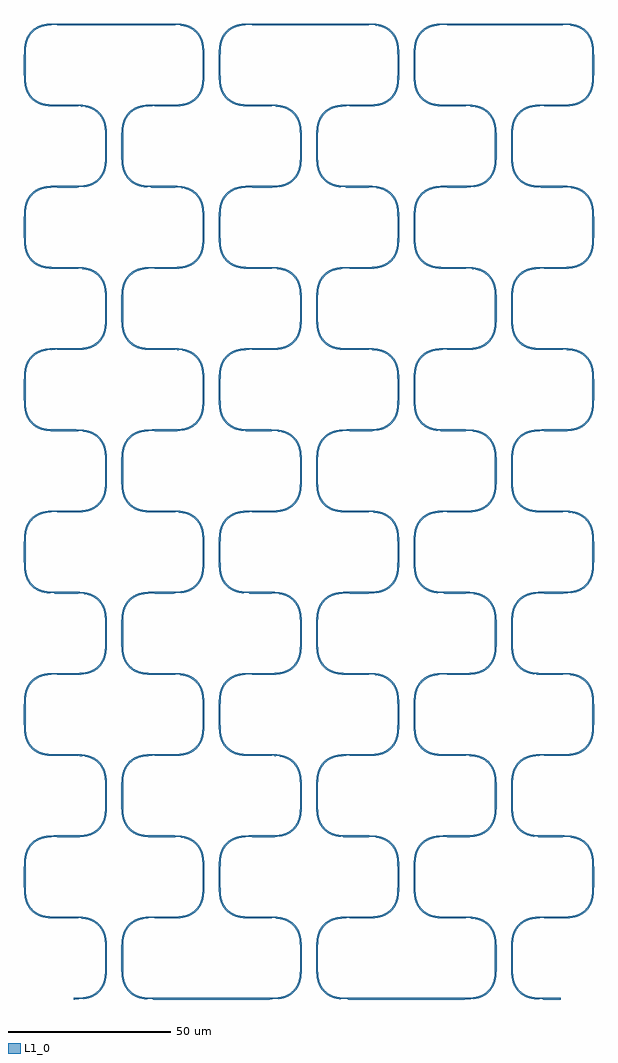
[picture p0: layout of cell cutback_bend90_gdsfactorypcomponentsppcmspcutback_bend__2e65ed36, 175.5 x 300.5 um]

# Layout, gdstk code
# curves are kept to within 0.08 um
from math import pi, radians
import gdstk
lib = gdstk.Library(unit=1e-6, precision=1e-09)
def R(c, l, rs):  # rectangles x0, y0, x1, y1
    for r in rs: c.add(gdstk.rectangle(r[:2], r[2:], *l))
def P(c, l, *ps):  # polygons
    for p in ps: c.add(gdstk.Polygon(p, *l))
L1_0 = (1, 0)

bend_euler_gdsfactorypco = lib.new_cell('bend_euler_gdsfactorypcomponentspbendspbend_euler_RNone_387600b2')
P(bend_euler_gdsfactorypco, L1_0, [(0,-0.25),(0,0.25),(2.881,0.353),(3.952,0.52),(4.99,0.806),(6.431,1.505),(7.575,2.425),(8.495,3.569),(9.194,5.01),(9.48,6.048),(9.647,7.119),(9.75,10),(10.25,10),(10.158,7.205),(9.797,5.254),(9.457,4.312),(9.066,3.545),(8.5,2.715),(7.928,2.072),(7.285,1.5),(6.455,0.934),(5.688,0.543),(4.746,0.203),(2.795,-0.158)])

straight_gdsfactorypcomp = lib.new_cell('straight_gdsfactorypcomponentspwaveguidespstraight_L5_N_32b584f5')
R(straight_gdsfactorypcomp, L1_0, [(0,-0.25,5,0.25)])

c_straight_gdsfactorypcomp = lib.new_cell('straight_gdsfactorypcomponentspwaveguidespstraight_L30__a17b4e39')
R(c_straight_gdsfactorypcomp, L1_0, [(0,-0.25,30,0.25)])

cutback_bend90_gdsfactor = lib.new_cell('cutback_bend90_gdsfactorypcomponentsppcmspcutback_bend__2e65ed36')
cutback_bend90_gdsfactor.add(gdstk.Reference(bend_euler_gdsfactorypco, (-5,150), rotation=pi))
cutback_bend90_gdsfactor.add(gdstk.Reference(straight_gdsfactorypcomp, (-5,150)))
cutback_bend90_gdsfactor.add(gdstk.Reference(bend_euler_gdsfactorypco, (0,150)))
cutback_bend90_gdsfactor.add(gdstk.Reference(bend_euler_gdsfactorypco, (15,160), rotation=3*pi/2))
cutback_bend90_gdsfactor.add(gdstk.Reference(straight_gdsfactorypcomp, (25,150)))
cutback_bend90_gdsfactor.add(gdstk.Reference(bend_euler_gdsfactorypco, (40,140), rotation=pi/2))
cutback_bend90_gdsfactor.add(gdstk.Reference(bend_euler_gdsfactorypco, (55,150), rotation=pi))
cutback_bend90_gdsfactor.add(gdstk.Reference(straight_gdsfactorypcomp, (55,150)))
cutback_bend90_gdsfactor.add(gdstk.Reference(bend_euler_gdsfactorypco, (60,150)))
cutback_bend90_gdsfactor.add(gdstk.Reference(c_straight_gdsfactorypcomp, (60,300)))
cutback_bend90_gdsfactor.add(gdstk.Reference(bend_euler_gdsfactorypco, (75,160), rotation=3*pi/2))
cutback_bend90_gdsfactor.add(gdstk.Reference(straight_gdsfactorypcomp, (85,150)))
cutback_bend90_gdsfactor.add(gdstk.Reference(bend_euler_gdsfactorypco, (100,140), rotation=pi/2))
cutback_bend90_gdsfactor.add(gdstk.Reference(bend_euler_gdsfactorypco, (115,150), rotation=pi))
cutback_bend90_gdsfactor.add(gdstk.Reference(straight_gdsfactorypcomp, (115,150)))
cutback_bend90_gdsfactor.add(gdstk.Reference(bend_euler_gdsfactorypco, (120,150)))
cutback_bend90_gdsfactor.add(gdstk.Reference(bend_euler_gdsfactorypco, (135,160), rotation=3*pi/2))
cutback_bend90_gdsfactor.add(gdstk.Reference(straight_gdsfactorypcomp, (145,150)))
cutback_bend90_gdsfactor.add(gdstk.Reference(bend_euler_gdsfactorypco, (160,140), rotation=pi/2))
cutback_bend90_gdsfactor.add(gdstk.Reference(straight_gdsfactorypcomp, (100,240), rotation=3*pi/2))
cutback_bend90_gdsfactor.add(gdstk.Reference(bend_euler_gdsfactorypco, (90,225)))
cutback_bend90_gdsfactor.add(gdstk.Reference(straight_gdsfactorypcomp, (90,225), rotation=pi))
cutback_bend90_gdsfactor.add(gdstk.Reference(bend_euler_gdsfactorypco, (85,225), rotation=pi))
cutback_bend90_gdsfactor.add(gdstk.Reference(straight_gdsfactorypcomp, (75,215), rotation=3*pi/2))
cutback_bend90_gdsfactor.add(gdstk.Reference(bend_euler_gdsfactorypco, (75,210), rotation=3*pi/2))
cutback_bend90_gdsfactor.add(gdstk.Reference(straight_gdsfactorypcomp, (85,200)))
cutback_bend90_gdsfactor.add(gdstk.Reference(bend_euler_gdsfactorypco, (100,190), rotation=pi/2))
cutback_bend90_gdsfactor.add(gdstk.Reference(straight_gdsfactorypcomp, (100,190), rotation=3*pi/2))
cutback_bend90_gdsfactor.add(gdstk.Reference(bend_euler_gdsfactorypco, (90,175)))
cutback_bend90_gdsfactor.add(gdstk.Reference(straight_gdsfactorypcomp, (90,175), rotation=pi))
cutback_bend90_gdsfactor.add(gdstk.Reference(bend_euler_gdsfactorypco, (85,175), rotation=pi))
cutback_bend90_gdsfactor.add(gdstk.Reference(straight_gdsfactorypcomp, (75,165), rotation=3*pi/2))
cutback_bend90_gdsfactor.add(gdstk.Reference(bend_euler_gdsfactorypco, (100,290), rotation=pi/2))
cutback_bend90_gdsfactor.add(gdstk.Reference(straight_gdsfactorypcomp, (100,290), rotation=3*pi/2))
cutback_bend90_gdsfactor.add(gdstk.Reference(bend_euler_gdsfactorypco, (90,275)))
cutback_bend90_gdsfactor.add(gdstk.Reference(straight_gdsfactorypcomp, (90,275), rotation=pi))
cutback_bend90_gdsfactor.add(gdstk.Reference(bend_euler_gdsfactorypco, (85,275), rotation=pi))
cutback_bend90_gdsfactor.add(gdstk.Reference(straight_gdsfactorypcomp, (75,265), rotation=3*pi/2))
cutback_bend90_gdsfactor.add(gdstk.Reference(straight_gdsfactorypcomp, (130,160), rotation=pi/2))
cutback_bend90_gdsfactor.add(gdstk.Reference(bend_euler_gdsfactorypco, (130,165), rotation=pi/2))
cutback_bend90_gdsfactor.add(gdstk.Reference(straight_gdsfactorypcomp, (120,175), rotation=pi))
cutback_bend90_gdsfactor.add(gdstk.Reference(bend_euler_gdsfactorypco, (105,185), rotation=3*pi/2))
cutback_bend90_gdsfactor.add(gdstk.Reference(straight_gdsfactorypcomp, (105,185), rotation=pi/2))
cutback_bend90_gdsfactor.add(gdstk.Reference(bend_euler_gdsfactorypco, (115,200), rotation=pi))
cutback_bend90_gdsfactor.add(gdstk.Reference(straight_gdsfactorypcomp, (115,200)))
cutback_bend90_gdsfactor.add(gdstk.Reference(bend_euler_gdsfactorypco, (120,200)))
cutback_bend90_gdsfactor.add(gdstk.Reference(straight_gdsfactorypcomp, (130,210), rotation=pi/2))
cutback_bend90_gdsfactor.add(gdstk.Reference(bend_euler_gdsfactorypco, (130,215), rotation=pi/2))
cutback_bend90_gdsfactor.add(gdstk.Reference(straight_gdsfactorypcomp, (120,225), rotation=pi))
cutback_bend90_gdsfactor.add(gdstk.Reference(bend_euler_gdsfactorypco, (105,235), rotation=3*pi/2))
cutback_bend90_gdsfactor.add(gdstk.Reference(straight_gdsfactorypcomp, (105,235), rotation=pi/2))
cutback_bend90_gdsfactor.add(gdstk.Reference(bend_euler_gdsfactorypco, (115,250), rotation=pi))
cutback_bend90_gdsfactor.add(gdstk.Reference(straight_gdsfactorypcomp, (115,250)))
cutback_bend90_gdsfactor.add(gdstk.Reference(bend_euler_gdsfactorypco, (120,250)))
cutback_bend90_gdsfactor.add(gdstk.Reference(straight_gdsfactorypcomp, (130,260), rotation=pi/2))
cutback_bend90_gdsfactor.add(gdstk.Reference(bend_euler_gdsfactorypco, (130,265), rotation=pi/2))
cutback_bend90_gdsfactor.add(gdstk.Reference(straight_gdsfactorypcomp, (120,275), rotation=pi))
cutback_bend90_gdsfactor.add(gdstk.Reference(bend_euler_gdsfactorypco, (105,285), rotation=3*pi/2))
cutback_bend90_gdsfactor.add(gdstk.Reference(straight_gdsfactorypcomp, (105,285), rotation=pi/2))
cutback_bend90_gdsfactor.add(gdstk.Reference(bend_euler_gdsfactorypco, (115,300), rotation=pi))
cutback_bend90_gdsfactor.add(gdstk.Reference(straight_gdsfactorypcomp, (115,300)))
cutback_bend90_gdsfactor.add(gdstk.Reference(c_straight_gdsfactorypcomp, (120,300)))
cutback_bend90_gdsfactor.add(gdstk.Reference(bend_euler_gdsfactorypco, (160,290), rotation=pi/2))
cutback_bend90_gdsfactor.add(gdstk.Reference(straight_gdsfactorypcomp, (160,290), rotation=3*pi/2))
cutback_bend90_gdsfactor.add(gdstk.Reference(bend_euler_gdsfactorypco, (150,275)))
cutback_bend90_gdsfactor.add(gdstk.Reference(straight_gdsfactorypcomp, (150,275), rotation=pi))
cutback_bend90_gdsfactor.add(gdstk.Reference(bend_euler_gdsfactorypco, (145,275), rotation=pi))
cutback_bend90_gdsfactor.add(gdstk.Reference(straight_gdsfactorypcomp, (135,265), rotation=3*pi/2))
cutback_bend90_gdsfactor.add(gdstk.Reference(bend_euler_gdsfactorypco, (135,260), rotation=3*pi/2))
cutback_bend90_gdsfactor.add(gdstk.Reference(straight_gdsfactorypcomp, (145,250)))
cutback_bend90_gdsfactor.add(gdstk.Reference(bend_euler_gdsfactorypco, (160,240), rotation=pi/2))
cutback_bend90_gdsfactor.add(gdstk.Reference(straight_gdsfactorypcomp, (160,240), rotation=3*pi/2))
cutback_bend90_gdsfactor.add(gdstk.Reference(bend_euler_gdsfactorypco, (150,225)))
cutback_bend90_gdsfactor.add(gdstk.Reference(straight_gdsfactorypcomp, (150,225), rotation=pi))
cutback_bend90_gdsfactor.add(gdstk.Reference(bend_euler_gdsfactorypco, (145,225), rotation=pi))
cutback_bend90_gdsfactor.add(gdstk.Reference(straight_gdsfactorypcomp, (135,215), rotation=3*pi/2))
cutback_bend90_gdsfactor.add(gdstk.Reference(bend_euler_gdsfactorypco, (135,210), rotation=3*pi/2))
cutback_bend90_gdsfactor.add(gdstk.Reference(straight_gdsfactorypcomp, (145,200)))
cutback_bend90_gdsfactor.add(gdstk.Reference(bend_euler_gdsfactorypco, (160,190), rotation=pi/2))
cutback_bend90_gdsfactor.add(gdstk.Reference(straight_gdsfactorypcomp, (160,190), rotation=3*pi/2))
cutback_bend90_gdsfactor.add(gdstk.Reference(bend_euler_gdsfactorypco, (150,175)))
cutback_bend90_gdsfactor.add(gdstk.Reference(straight_gdsfactorypcomp, (150,175), rotation=pi))
cutback_bend90_gdsfactor.add(gdstk.Reference(bend_euler_gdsfactorypco, (145,175), rotation=pi))
cutback_bend90_gdsfactor.add(gdstk.Reference(straight_gdsfactorypcomp, (135,165), rotation=3*pi/2))
cutback_bend90_gdsfactor.add(gdstk.Reference(bend_euler_gdsfactorypco, (75,260), rotation=3*pi/2))
cutback_bend90_gdsfactor.add(gdstk.Reference(straight_gdsfactorypcomp, (85,250)))
cutback_bend90_gdsfactor.add(gdstk.Reference(bend_euler_gdsfactorypco, (100,240), rotation=pi/2))
cutback_bend90_gdsfactor.add(gdstk.Reference(bend_euler_gdsfactorypco, (0,250)))
cutback_bend90_gdsfactor.add(gdstk.Reference(straight_gdsfactorypcomp, (10,260), rotation=pi/2))
cutback_bend90_gdsfactor.add(gdstk.Reference(bend_euler_gdsfactorypco, (10,265), rotation=pi/2))
cutback_bend90_gdsfactor.add(gdstk.Reference(straight_gdsfactorypcomp, (0,275), rotation=pi))
cutback_bend90_gdsfactor.add(gdstk.Reference(bend_euler_gdsfactorypco, (-15,285), rotation=3*pi/2))
cutback_bend90_gdsfactor.add(gdstk.Reference(straight_gdsfactorypcomp, (-15,285), rotation=pi/2))
cutback_bend90_gdsfactor.add(gdstk.Reference(bend_euler_gdsfactorypco, (-5,300), rotation=pi))
cutback_bend90_gdsfactor.add(gdstk.Reference(straight_gdsfactorypcomp, (-5,300)))
cutback_bend90_gdsfactor.add(gdstk.Reference(c_straight_gdsfactorypcomp, (0,300)))
cutback_bend90_gdsfactor.add(gdstk.Reference(bend_euler_gdsfactorypco, (40,290), rotation=pi/2))
cutback_bend90_gdsfactor.add(gdstk.Reference(straight_gdsfactorypcomp, (40,290), rotation=3*pi/2))
cutback_bend90_gdsfactor.add(gdstk.Reference(bend_euler_gdsfactorypco, (30,275)))
cutback_bend90_gdsfactor.add(gdstk.Reference(straight_gdsfactorypcomp, (30,275), rotation=pi))
cutback_bend90_gdsfactor.add(gdstk.Reference(bend_euler_gdsfactorypco, (25,275), rotation=pi))
cutback_bend90_gdsfactor.add(gdstk.Reference(straight_gdsfactorypcomp, (15,265), rotation=3*pi/2))
cutback_bend90_gdsfactor.add(gdstk.Reference(bend_euler_gdsfactorypco, (15,260), rotation=3*pi/2))
cutback_bend90_gdsfactor.add(gdstk.Reference(straight_gdsfactorypcomp, (25,250)))
cutback_bend90_gdsfactor.add(gdstk.Reference(bend_euler_gdsfactorypco, (40,240), rotation=pi/2))
cutback_bend90_gdsfactor.add(gdstk.Reference(straight_gdsfactorypcomp, (40,240), rotation=3*pi/2))
cutback_bend90_gdsfactor.add(gdstk.Reference(bend_euler_gdsfactorypco, (30,225)))
cutback_bend90_gdsfactor.add(gdstk.Reference(straight_gdsfactorypcomp, (30,225), rotation=pi))
cutback_bend90_gdsfactor.add(gdstk.Reference(bend_euler_gdsfactorypco, (25,225), rotation=pi))
cutback_bend90_gdsfactor.add(gdstk.Reference(straight_gdsfactorypcomp, (15,215), rotation=3*pi/2))
cutback_bend90_gdsfactor.add(gdstk.Reference(bend_euler_gdsfactorypco, (15,210), rotation=3*pi/2))
cutback_bend90_gdsfactor.add(gdstk.Reference(straight_gdsfactorypcomp, (25,200)))
cutback_bend90_gdsfactor.add(gdstk.Reference(bend_euler_gdsfactorypco, (40,190), rotation=pi/2))
cutback_bend90_gdsfactor.add(gdstk.Reference(straight_gdsfactorypcomp, (40,190), rotation=3*pi/2))
cutback_bend90_gdsfactor.add(gdstk.Reference(bend_euler_gdsfactorypco, (30,175)))
cutback_bend90_gdsfactor.add(gdstk.Reference(straight_gdsfactorypcomp, (30,175), rotation=pi))
cutback_bend90_gdsfactor.add(gdstk.Reference(bend_euler_gdsfactorypco, (25,175), rotation=pi))
cutback_bend90_gdsfactor.add(gdstk.Reference(straight_gdsfactorypcomp, (15,165), rotation=3*pi/2))
cutback_bend90_gdsfactor.add(gdstk.Reference(straight_gdsfactorypcomp, (10,160), rotation=pi/2))
cutback_bend90_gdsfactor.add(gdstk.Reference(bend_euler_gdsfactorypco, (10,165), rotation=pi/2))
cutback_bend90_gdsfactor.add(gdstk.Reference(straight_gdsfactorypcomp, (0,175), rotation=pi))
cutback_bend90_gdsfactor.add(gdstk.Reference(bend_euler_gdsfactorypco, (-15,185), rotation=3*pi/2))
cutback_bend90_gdsfactor.add(gdstk.Reference(straight_gdsfactorypcomp, (-15,185), rotation=pi/2))
cutback_bend90_gdsfactor.add(gdstk.Reference(bend_euler_gdsfactorypco, (-5,200), rotation=pi))
cutback_bend90_gdsfactor.add(gdstk.Reference(straight_gdsfactorypcomp, (70,160), rotation=pi/2))
cutback_bend90_gdsfactor.add(gdstk.Reference(bend_euler_gdsfactorypco, (70,165), rotation=pi/2))
cutback_bend90_gdsfactor.add(gdstk.Reference(straight_gdsfactorypcomp, (60,175), rotation=pi))
cutback_bend90_gdsfactor.add(gdstk.Reference(bend_euler_gdsfactorypco, (45,185), rotation=3*pi/2))
cutback_bend90_gdsfactor.add(gdstk.Reference(straight_gdsfactorypcomp, (45,185), rotation=pi/2))
cutback_bend90_gdsfactor.add(gdstk.Reference(bend_euler_gdsfactorypco, (55,200), rotation=pi))
cutback_bend90_gdsfactor.add(gdstk.Reference(straight_gdsfactorypcomp, (55,200)))
cutback_bend90_gdsfactor.add(gdstk.Reference(bend_euler_gdsfactorypco, (60,200)))
cutback_bend90_gdsfactor.add(gdstk.Reference(straight_gdsfactorypcomp, (70,210), rotation=pi/2))
cutback_bend90_gdsfactor.add(gdstk.Reference(bend_euler_gdsfactorypco, (70,215), rotation=pi/2))
cutback_bend90_gdsfactor.add(gdstk.Reference(straight_gdsfactorypcomp, (60,225), rotation=pi))
cutback_bend90_gdsfactor.add(gdstk.Reference(bend_euler_gdsfactorypco, (45,235), rotation=3*pi/2))
cutback_bend90_gdsfactor.add(gdstk.Reference(straight_gdsfactorypcomp, (45,235), rotation=pi/2))
cutback_bend90_gdsfactor.add(gdstk.Reference(bend_euler_gdsfactorypco, (55,250), rotation=pi))
cutback_bend90_gdsfactor.add(gdstk.Reference(straight_gdsfactorypcomp, (55,250)))
cutback_bend90_gdsfactor.add(gdstk.Reference(bend_euler_gdsfactorypco, (60,250)))
cutback_bend90_gdsfactor.add(gdstk.Reference(straight_gdsfactorypcomp, (70,260), rotation=pi/2))
cutback_bend90_gdsfactor.add(gdstk.Reference(bend_euler_gdsfactorypco, (70,265), rotation=pi/2))
cutback_bend90_gdsfactor.add(gdstk.Reference(straight_gdsfactorypcomp, (60,275), rotation=pi))
cutback_bend90_gdsfactor.add(gdstk.Reference(bend_euler_gdsfactorypco, (45,285), rotation=3*pi/2))
cutback_bend90_gdsfactor.add(gdstk.Reference(straight_gdsfactorypcomp, (45,285), rotation=pi/2))
cutback_bend90_gdsfactor.add(gdstk.Reference(bend_euler_gdsfactorypco, (55,300), rotation=pi))
cutback_bend90_gdsfactor.add(gdstk.Reference(straight_gdsfactorypcomp, (55,300)))
cutback_bend90_gdsfactor.add(gdstk.Reference(straight_gdsfactorypcomp, (-5,200)))
cutback_bend90_gdsfactor.add(gdstk.Reference(bend_euler_gdsfactorypco, (0,200)))
cutback_bend90_gdsfactor.add(gdstk.Reference(straight_gdsfactorypcomp, (10,210), rotation=pi/2))
cutback_bend90_gdsfactor.add(gdstk.Reference(bend_euler_gdsfactorypco, (10,215), rotation=pi/2))
cutback_bend90_gdsfactor.add(gdstk.Reference(straight_gdsfactorypcomp, (0,225), rotation=pi))
cutback_bend90_gdsfactor.add(gdstk.Reference(bend_euler_gdsfactorypco, (-15,235), rotation=3*pi/2))
cutback_bend90_gdsfactor.add(gdstk.Reference(straight_gdsfactorypcomp, (-15,235), rotation=pi/2))
cutback_bend90_gdsfactor.add(gdstk.Reference(bend_euler_gdsfactorypco, (-5,250), rotation=pi))
cutback_bend90_gdsfactor.add(gdstk.Reference(straight_gdsfactorypcomp, (-5,250)))
cutback_bend90_gdsfactor.add(gdstk.Reference(straight_gdsfactorypcomp, (25,50)))
cutback_bend90_gdsfactor.add(gdstk.Reference(bend_euler_gdsfactorypco, (40,40), rotation=pi/2))
cutback_bend90_gdsfactor.add(gdstk.Reference(straight_gdsfactorypcomp, (40,40), rotation=3*pi/2))
cutback_bend90_gdsfactor.add(gdstk.Reference(bend_euler_gdsfactorypco, (30,25)))
cutback_bend90_gdsfactor.add(gdstk.Reference(straight_gdsfactorypcomp, (30,25), rotation=pi))
cutback_bend90_gdsfactor.add(gdstk.Reference(bend_euler_gdsfactorypco, (25,25), rotation=pi))
cutback_bend90_gdsfactor.add(gdstk.Reference(straight_gdsfactorypcomp, (15,15), rotation=3*pi/2))
cutback_bend90_gdsfactor.add(gdstk.Reference(bend_euler_gdsfactorypco, (15,10), rotation=3*pi/2))
cutback_bend90_gdsfactor.add(gdstk.Reference(straight_gdsfactorypcomp, (25,0)))
cutback_bend90_gdsfactor.add(gdstk.Reference(c_straight_gdsfactorypcomp, (30,0)))
cutback_bend90_gdsfactor.add(gdstk.Reference(bend_euler_gdsfactorypco, (60,0)))
cutback_bend90_gdsfactor.add(gdstk.Reference(straight_gdsfactorypcomp, (70,10), rotation=pi/2))
cutback_bend90_gdsfactor.add(gdstk.Reference(bend_euler_gdsfactorypco, (70,15), rotation=pi/2))
cutback_bend90_gdsfactor.add(gdstk.Reference(straight_gdsfactorypcomp, (60,25), rotation=pi))
cutback_bend90_gdsfactor.add(gdstk.Reference(bend_euler_gdsfactorypco, (45,35), rotation=3*pi/2))
cutback_bend90_gdsfactor.add(gdstk.Reference(straight_gdsfactorypcomp, (45,35), rotation=pi/2))
cutback_bend90_gdsfactor.add(gdstk.Reference(bend_euler_gdsfactorypco, (55,50), rotation=pi))
cutback_bend90_gdsfactor.add(gdstk.Reference(straight_gdsfactorypcomp, (55,50)))
cutback_bend90_gdsfactor.add(gdstk.Reference(bend_euler_gdsfactorypco, (60,50)))
cutback_bend90_gdsfactor.add(gdstk.Reference(straight_gdsfactorypcomp, (70,60), rotation=pi/2))
cutback_bend90_gdsfactor.add(gdstk.Reference(bend_euler_gdsfactorypco, (70,65), rotation=pi/2))
cutback_bend90_gdsfactor.add(gdstk.Reference(straight_gdsfactorypcomp, (60,75), rotation=pi))
cutback_bend90_gdsfactor.add(gdstk.Reference(bend_euler_gdsfactorypco, (45,85), rotation=3*pi/2))
cutback_bend90_gdsfactor.add(gdstk.Reference(straight_gdsfactorypcomp, (45,85), rotation=pi/2))
cutback_bend90_gdsfactor.add(gdstk.Reference(bend_euler_gdsfactorypco, (55,100), rotation=pi))
cutback_bend90_gdsfactor.add(gdstk.Reference(straight_gdsfactorypcomp, (55,100)))
cutback_bend90_gdsfactor.add(gdstk.Reference(bend_euler_gdsfactorypco, (60,100)))
cutback_bend90_gdsfactor.add(gdstk.Reference(straight_gdsfactorypcomp, (70,110), rotation=pi/2))
cutback_bend90_gdsfactor.add(gdstk.Reference(bend_euler_gdsfactorypco, (70,115), rotation=pi/2))
cutback_bend90_gdsfactor.add(gdstk.Reference(straight_gdsfactorypcomp, (60,125), rotation=pi))
cutback_bend90_gdsfactor.add(gdstk.Reference(bend_euler_gdsfactorypco, (45,135), rotation=3*pi/2))
cutback_bend90_gdsfactor.add(gdstk.Reference(straight_gdsfactorypcomp, (45,135), rotation=pi/2))
cutback_bend90_gdsfactor.add(gdstk.Reference(bend_euler_gdsfactorypco, (0,50)))
cutback_bend90_gdsfactor.add(gdstk.Reference(straight_gdsfactorypcomp, (10,60), rotation=pi/2))
cutback_bend90_gdsfactor.add(gdstk.Reference(bend_euler_gdsfactorypco, (10,65), rotation=pi/2))
cutback_bend90_gdsfactor.add(gdstk.Reference(straight_gdsfactorypcomp, (0,75), rotation=pi))
cutback_bend90_gdsfactor.add(gdstk.Reference(bend_euler_gdsfactorypco, (-15,85), rotation=3*pi/2))
cutback_bend90_gdsfactor.add(gdstk.Reference(straight_gdsfactorypcomp, (-15,85), rotation=pi/2))
cutback_bend90_gdsfactor.add(gdstk.Reference(bend_euler_gdsfactorypco, (-5,100), rotation=pi))
cutback_bend90_gdsfactor.add(gdstk.Reference(straight_gdsfactorypcomp, (-5,100)))
cutback_bend90_gdsfactor.add(gdstk.Reference(bend_euler_gdsfactorypco, (0,100)))
cutback_bend90_gdsfactor.add(gdstk.Reference(straight_gdsfactorypcomp, (10,110), rotation=pi/2))
cutback_bend90_gdsfactor.add(gdstk.Reference(bend_euler_gdsfactorypco, (10,115), rotation=pi/2))
cutback_bend90_gdsfactor.add(gdstk.Reference(straight_gdsfactorypcomp, (0,125), rotation=pi))
cutback_bend90_gdsfactor.add(gdstk.Reference(bend_euler_gdsfactorypco, (-15,135), rotation=3*pi/2))
cutback_bend90_gdsfactor.add(gdstk.Reference(straight_gdsfactorypcomp, (-15,135), rotation=pi/2))
cutback_bend90_gdsfactor.add(gdstk.Reference(bend_euler_gdsfactorypco, (0,0)))
cutback_bend90_gdsfactor.add(gdstk.Reference(straight_gdsfactorypcomp, (10,10), rotation=pi/2))
cutback_bend90_gdsfactor.add(gdstk.Reference(bend_euler_gdsfactorypco, (10,15), rotation=pi/2))
cutback_bend90_gdsfactor.add(gdstk.Reference(straight_gdsfactorypcomp, (0,25), rotation=pi))
cutback_bend90_gdsfactor.add(gdstk.Reference(bend_euler_gdsfactorypco, (-15,35), rotation=3*pi/2))
cutback_bend90_gdsfactor.add(gdstk.Reference(straight_gdsfactorypcomp, (-15,35), rotation=pi/2))
cutback_bend90_gdsfactor.add(gdstk.Reference(bend_euler_gdsfactorypco, (-5,50), rotation=pi))
cutback_bend90_gdsfactor.add(gdstk.Reference(straight_gdsfactorypcomp, (-5,50)))
cutback_bend90_gdsfactor.add(gdstk.Reference(straight_gdsfactorypcomp, (40,140), rotation=3*pi/2))
cutback_bend90_gdsfactor.add(gdstk.Reference(bend_euler_gdsfactorypco, (30,125)))
cutback_bend90_gdsfactor.add(gdstk.Reference(straight_gdsfactorypcomp, (30,125), rotation=pi))
cutback_bend90_gdsfactor.add(gdstk.Reference(bend_euler_gdsfactorypco, (25,125), rotation=pi))
cutback_bend90_gdsfactor.add(gdstk.Reference(straight_gdsfactorypcomp, (15,115), rotation=3*pi/2))
cutback_bend90_gdsfactor.add(gdstk.Reference(bend_euler_gdsfactorypco, (15,110), rotation=3*pi/2))
cutback_bend90_gdsfactor.add(gdstk.Reference(straight_gdsfactorypcomp, (25,100)))
cutback_bend90_gdsfactor.add(gdstk.Reference(bend_euler_gdsfactorypco, (40,90), rotation=pi/2))
cutback_bend90_gdsfactor.add(gdstk.Reference(straight_gdsfactorypcomp, (40,90), rotation=3*pi/2))
cutback_bend90_gdsfactor.add(gdstk.Reference(bend_euler_gdsfactorypco, (30,75)))
cutback_bend90_gdsfactor.add(gdstk.Reference(straight_gdsfactorypcomp, (30,75), rotation=pi))
cutback_bend90_gdsfactor.add(gdstk.Reference(bend_euler_gdsfactorypco, (25,75), rotation=pi))
cutback_bend90_gdsfactor.add(gdstk.Reference(straight_gdsfactorypcomp, (15,65), rotation=3*pi/2))
cutback_bend90_gdsfactor.add(gdstk.Reference(bend_euler_gdsfactorypco, (15,60), rotation=3*pi/2))
cutback_bend90_gdsfactor.add(gdstk.Reference(straight_gdsfactorypcomp, (85,100)))
cutback_bend90_gdsfactor.add(gdstk.Reference(bend_euler_gdsfactorypco, (100,90), rotation=pi/2))
cutback_bend90_gdsfactor.add(gdstk.Reference(straight_gdsfactorypcomp, (100,90), rotation=3*pi/2))
cutback_bend90_gdsfactor.add(gdstk.Reference(bend_euler_gdsfactorypco, (90,75)))
cutback_bend90_gdsfactor.add(gdstk.Reference(straight_gdsfactorypcomp, (90,75), rotation=pi))
cutback_bend90_gdsfactor.add(gdstk.Reference(bend_euler_gdsfactorypco, (85,75), rotation=pi))
cutback_bend90_gdsfactor.add(gdstk.Reference(straight_gdsfactorypcomp, (75,65), rotation=3*pi/2))
cutback_bend90_gdsfactor.add(gdstk.Reference(bend_euler_gdsfactorypco, (75,60), rotation=3*pi/2))
cutback_bend90_gdsfactor.add(gdstk.Reference(straight_gdsfactorypcomp, (85,50)))
cutback_bend90_gdsfactor.add(gdstk.Reference(bend_euler_gdsfactorypco, (100,40), rotation=pi/2))
cutback_bend90_gdsfactor.add(gdstk.Reference(straight_gdsfactorypcomp, (100,40), rotation=3*pi/2))
cutback_bend90_gdsfactor.add(gdstk.Reference(bend_euler_gdsfactorypco, (90,25)))
cutback_bend90_gdsfactor.add(gdstk.Reference(straight_gdsfactorypcomp, (90,25), rotation=pi))
cutback_bend90_gdsfactor.add(gdstk.Reference(bend_euler_gdsfactorypco, (85,25), rotation=pi))
cutback_bend90_gdsfactor.add(gdstk.Reference(straight_gdsfactorypcomp, (75,15), rotation=3*pi/2))
cutback_bend90_gdsfactor.add(gdstk.Reference(bend_euler_gdsfactorypco, (75,10), rotation=3*pi/2))
cutback_bend90_gdsfactor.add(gdstk.Reference(straight_gdsfactorypcomp, (85,0)))
cutback_bend90_gdsfactor.add(gdstk.Reference(c_straight_gdsfactorypcomp, (90,0)))
cutback_bend90_gdsfactor.add(gdstk.Reference(bend_euler_gdsfactorypco, (120,0)))
cutback_bend90_gdsfactor.add(gdstk.Reference(straight_gdsfactorypcomp, (130,10), rotation=pi/2))
cutback_bend90_gdsfactor.add(gdstk.Reference(bend_euler_gdsfactorypco, (130,15), rotation=pi/2))
cutback_bend90_gdsfactor.add(gdstk.Reference(straight_gdsfactorypcomp, (120,25), rotation=pi))
cutback_bend90_gdsfactor.add(gdstk.Reference(bend_euler_gdsfactorypco, (105,35), rotation=3*pi/2))
cutback_bend90_gdsfactor.add(gdstk.Reference(straight_gdsfactorypcomp, (105,35), rotation=pi/2))
cutback_bend90_gdsfactor.add(gdstk.Reference(bend_euler_gdsfactorypco, (115,50), rotation=pi))
cutback_bend90_gdsfactor.add(gdstk.Reference(straight_gdsfactorypcomp, (115,50)))
cutback_bend90_gdsfactor.add(gdstk.Reference(bend_euler_gdsfactorypco, (120,50)))
cutback_bend90_gdsfactor.add(gdstk.Reference(straight_gdsfactorypcomp, (130,60), rotation=pi/2))
cutback_bend90_gdsfactor.add(gdstk.Reference(bend_euler_gdsfactorypco, (130,65), rotation=pi/2))
cutback_bend90_gdsfactor.add(gdstk.Reference(straight_gdsfactorypcomp, (120,75), rotation=pi))
cutback_bend90_gdsfactor.add(gdstk.Reference(bend_euler_gdsfactorypco, (105,85), rotation=3*pi/2))
cutback_bend90_gdsfactor.add(gdstk.Reference(straight_gdsfactorypcomp, (105,85), rotation=pi/2))
cutback_bend90_gdsfactor.add(gdstk.Reference(bend_euler_gdsfactorypco, (115,100), rotation=pi))
cutback_bend90_gdsfactor.add(gdstk.Reference(straight_gdsfactorypcomp, (115,100)))
cutback_bend90_gdsfactor.add(gdstk.Reference(bend_euler_gdsfactorypco, (120,100)))
cutback_bend90_gdsfactor.add(gdstk.Reference(straight_gdsfactorypcomp, (130,110), rotation=pi/2))
cutback_bend90_gdsfactor.add(gdstk.Reference(bend_euler_gdsfactorypco, (130,115), rotation=pi/2))
cutback_bend90_gdsfactor.add(gdstk.Reference(straight_gdsfactorypcomp, (120,125), rotation=pi))
cutback_bend90_gdsfactor.add(gdstk.Reference(bend_euler_gdsfactorypco, (105,135), rotation=3*pi/2))
cutback_bend90_gdsfactor.add(gdstk.Reference(straight_gdsfactorypcomp, (105,135), rotation=pi/2))
cutback_bend90_gdsfactor.add(gdstk.Reference(straight_gdsfactorypcomp, (100,140), rotation=3*pi/2))
cutback_bend90_gdsfactor.add(gdstk.Reference(bend_euler_gdsfactorypco, (90,125)))
cutback_bend90_gdsfactor.add(gdstk.Reference(straight_gdsfactorypcomp, (90,125), rotation=pi))
cutback_bend90_gdsfactor.add(gdstk.Reference(bend_euler_gdsfactorypco, (85,125), rotation=pi))
cutback_bend90_gdsfactor.add(gdstk.Reference(straight_gdsfactorypcomp, (75,115), rotation=3*pi/2))
cutback_bend90_gdsfactor.add(gdstk.Reference(bend_euler_gdsfactorypco, (75,110), rotation=3*pi/2))
cutback_bend90_gdsfactor.add(gdstk.Reference(straight_gdsfactorypcomp, (160,140), rotation=3*pi/2))
cutback_bend90_gdsfactor.add(gdstk.Reference(bend_euler_gdsfactorypco, (150,125)))
cutback_bend90_gdsfactor.add(gdstk.Reference(straight_gdsfactorypcomp, (150,125), rotation=pi))
cutback_bend90_gdsfactor.add(gdstk.Reference(bend_euler_gdsfactorypco, (145,125), rotation=pi))
cutback_bend90_gdsfactor.add(gdstk.Reference(straight_gdsfactorypcomp, (135,115), rotation=3*pi/2))
cutback_bend90_gdsfactor.add(gdstk.Reference(bend_euler_gdsfactorypco, (135,110), rotation=3*pi/2))
cutback_bend90_gdsfactor.add(gdstk.Reference(straight_gdsfactorypcomp, (145,100)))
cutback_bend90_gdsfactor.add(gdstk.Reference(bend_euler_gdsfactorypco, (160,90), rotation=pi/2))
cutback_bend90_gdsfactor.add(gdstk.Reference(straight_gdsfactorypcomp, (160,90), rotation=3*pi/2))
cutback_bend90_gdsfactor.add(gdstk.Reference(bend_euler_gdsfactorypco, (150,75)))
cutback_bend90_gdsfactor.add(gdstk.Reference(straight_gdsfactorypcomp, (150,75), rotation=pi))
cutback_bend90_gdsfactor.add(gdstk.Reference(bend_euler_gdsfactorypco, (145,75), rotation=pi))
cutback_bend90_gdsfactor.add(gdstk.Reference(straight_gdsfactorypcomp, (135,65), rotation=3*pi/2))
cutback_bend90_gdsfactor.add(gdstk.Reference(bend_euler_gdsfactorypco, (135,60), rotation=3*pi/2))
cutback_bend90_gdsfactor.add(gdstk.Reference(straight_gdsfactorypcomp, (145,50)))
cutback_bend90_gdsfactor.add(gdstk.Reference(bend_euler_gdsfactorypco, (160,40), rotation=pi/2))
cutback_bend90_gdsfactor.add(gdstk.Reference(straight_gdsfactorypcomp, (160,40), rotation=3*pi/2))
cutback_bend90_gdsfactor.add(gdstk.Reference(bend_euler_gdsfactorypco, (150,25)))
cutback_bend90_gdsfactor.add(gdstk.Reference(straight_gdsfactorypcomp, (150,25), rotation=pi))
cutback_bend90_gdsfactor.add(gdstk.Reference(bend_euler_gdsfactorypco, (145,25), rotation=pi))
cutback_bend90_gdsfactor.add(gdstk.Reference(straight_gdsfactorypcomp, (135,15), rotation=3*pi/2))
cutback_bend90_gdsfactor.add(gdstk.Reference(bend_euler_gdsfactorypco, (135,10), rotation=3*pi/2))
cutback_bend90_gdsfactor.add(gdstk.Reference(straight_gdsfactorypcomp, (145,0)))

lib.write_gds('cutback_bend90_gdsfactorypcomponentsppcmspcutback_bend__2e65ed36.gds')
